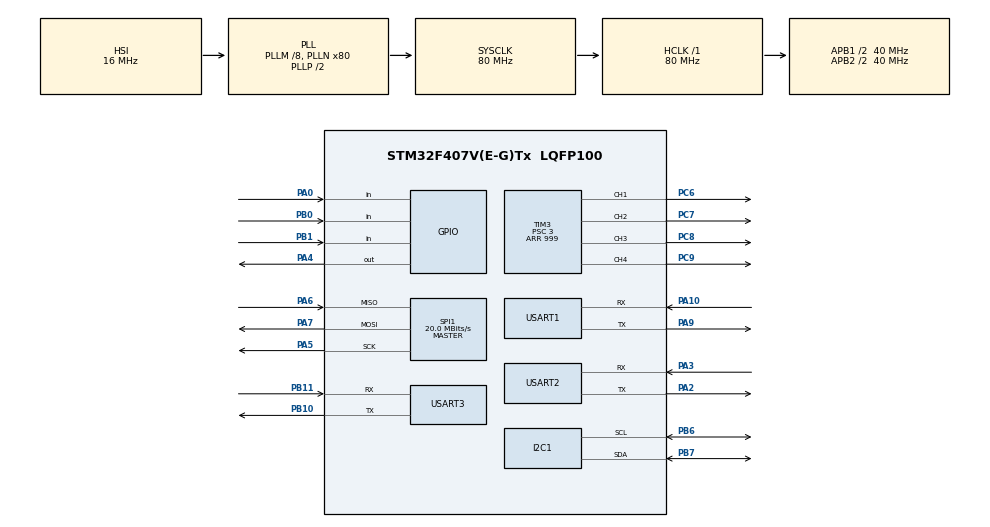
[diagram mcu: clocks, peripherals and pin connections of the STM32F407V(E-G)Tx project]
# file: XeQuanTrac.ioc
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Dma.Request0=USART1_RX
Dma.Request1=USART2_RX
Dma.Request2=USART3_RX
Dma.Request3=USART3_TX
Dma.USART1_RX.0.Direction=DMA_PERIPH_TO_MEMORY
Dma.USART1_RX.0.FIFOMode=DMA_FIFOMODE_DISABLE
Dma.USART1_RX.0.Instance=DMA2_Stream2
Dma.USART1_RX.0.MemDataAlignment=DMA_MDATAALIGN_BYTE
Dma.USART1_RX.0.MemInc=DMA_MINC_ENABLE
Dma.USART1_RX.0.Mode=DMA_CIRCULAR
Dma.USART1_RX.0.PeriphDataAlignment=DMA_PDATAALIGN_BYTE
Dma.USART1_RX.0.PeriphInc=DMA_PINC_DISABLE
Dma.USART1_RX.0.Priority=DMA_PRIORITY_HIGH
Dma.USART2_RX.1.Direction=DMA_PERIPH_TO_MEMORY
Dma.USART2_RX.1.FIFOMode=DMA_FIFOMODE_DISABLE
Dma.USART2_RX.1.Instance=DMA1_Stream5
Dma.USART2_RX.1.MemDataAlignment=DMA_MDATAALIGN_BYTE
Dma.USART2_RX.1.MemInc=DMA_MINC_ENABLE
Dma.USART2_RX.1.Mode=DMA_CIRCULAR
Dma.USART2_RX.1.PeriphDataAlignment=DMA_PDATAALIGN_BYTE
Dma.USART2_RX.1.PeriphInc=DMA_PINC_DISABLE
Dma.USART2_RX.1.Priority=DMA_PRIORITY_LOW
Dma.USART3_RX.2.Direction=DMA_PERIPH_TO_MEMORY
Dma.USART3_RX.2.FIFOMode=DMA_FIFOMODE_DISABLE
Dma.USART3_RX.2.Instance=DMA1_Stream1
Dma.USART3_RX.2.MemDataAlignment=DMA_MDATAALIGN_BYTE
Dma.USART3_RX.2.MemInc=DMA_MINC_ENABLE
Dma.USART3_RX.2.Mode=DMA_CIRCULAR
Dma.USART3_RX.2.PeriphDataAlignment=DMA_PDATAALIGN_BYTE
Dma.USART3_RX.2.PeriphInc=DMA_PINC_DISABLE
Dma.USART3_RX.2.Priority=DMA_PRIORITY_MEDIUM
Dma.USART3_TX.3.Direction=DMA_MEMORY_TO_PERIPH
Dma.USART3_TX.3.FIFOMode=DMA_FIFOMODE_DISABLE
Dma.USART3_TX.3.Instance=DMA1_Stream3
Dma.USART3_TX.3.MemDataAlignment=DMA_MDATAALIGN_BYTE
Dma.USART3_TX.3.MemInc=DMA_MINC_ENABLE
Dma.USART3_TX.3.Mode=DMA_NORMAL
Dma.USART3_TX.3.PeriphDataAlignment=DMA_PDATAALIGN_BYTE
Dma.USART3_TX.3.PeriphInc=DMA_PINC_DISABLE
Dma.USART3_TX.3.Priority=DMA_PRIORITY_LOW
I2C1.I2C_Mode=I2C_Fast
Mcu.Family=STM32F4
Mcu.Name=STM32F407V(E-G)Tx
Mcu.Package=LQFP100
NVIC.DMA1_Stream1_IRQn=true\:0\:0\:false\:false\:true\:false\:true\:true
NVIC.DMA1_Stream3_IRQn=true\:0\:0\:false\:false\:true\:false\:true\:true
NVIC.DMA1_Stream5_IRQn=true\:0\:0\:false\:false\:true\:false\:true\:true
NVIC.DMA2_Stream2_IRQn=true\:0\:0\:false\:false\:true\:false\:true\:true
NVIC.PriorityGroup=NVIC_PRIORITYGROUP_4
NVIC.USART1_IRQn=true\:0\:0\:false\:false\:true\:true\:true\:true
NVIC.USART2_IRQn=true\:0\:0\:false\:false\:true\:true\:true\:true
NVIC.USART3_IRQn=true\:0\:0\:false\:false\:true\:true\:true\:true
PA0-WKUP.Signal=GPIO_Input
PA10.Mode=Asynchronous
PA10.Signal=USART1_RX
PA15.Signal=S_TIM2_CH1_ETR
PA2.Mode=Asynchronous
PA2.Signal=USART2_TX
PA3.Mode=Asynchronous
PA3.Signal=USART2_RX
PA4.Signal=GPIO_Output
PA5.Mode=Full_Duplex_Master
PA5.Signal=SPI1_SCK
PA6.Mode=Full_Duplex_Master
PA6.Signal=SPI1_MISO
PA7.Mode=Full_Duplex_Master
PA7.Signal=SPI1_MOSI
PA9.Mode=Asynchronous
PA9.Signal=USART1_TX
PB0.GPIO_PuPd=GPIO_NOPULL
PB0.Signal=GPIO_Input
PB1.Signal=GPIO_Input
PB10.Mode=Asynchronous
PB10.Signal=USART3_TX
PB11.Mode=Asynchronous
PB11.Signal=USART3_RX
PB3.Signal=S_TIM2_CH2
PB6.Mode=I2C
PB6.Signal=I2C1_SCL
PB7.Mode=I2C
PB7.Signal=I2C1_SDA
PC6.Signal=S_TIM3_CH1
PC7.Signal=S_TIM3_CH2
PC8.Signal=S_TIM3_CH3
PC9.Signal=S_TIM3_CH4
PD12.Signal=S_TIM4_CH1
PD13.Signal=S_TIM4_CH2
PE11.Signal=S_TIM1_CH2
PE13.Signal=S_TIM1_CH3
ProjectManager.HeapSize=0x200
ProjectManager.StackSize=0x400
ProjectManager.TargetToolchain=STM32CubeIDE
RCC.48MHZClocksFreq_Value=40000000
RCC.AHBFreq_Value=80000000
RCC.APB1CLKDivider=RCC_HCLK_DIV2
RCC.APB1Freq_Value=40000000
RCC.APB1TimFreq_Value=80000000
RCC.APB2CLKDivider=RCC_HCLK_DIV2
RCC.APB2Freq_Value=40000000
RCC.APB2TimFreq_Value=80000000
RCC.CortexFreq_Value=80000000
RCC.HCLKFreq_Value=80000000
RCC.HSE_VALUE=25000000
RCC.HSI_VALUE=16000000
RCC.LSE_VALUE=32768
RCC.PLLM=8
RCC.PLLN=80
RCC.SYSCLKFreq_VALUE=80000000
RCC.SYSCLKSource=RCC_SYSCLKSOURCE_PLLCLK
RCC.VCOOutputFreq_Value=160000000
SH.S_TIM1_CH2.0=TIM1_CH2
SH.S_TIM1_CH3.0=TIM1_CH3
SH.S_TIM2_CH1_ETR.0=TIM2_CH1
SH.S_TIM2_CH2.0=TIM2_CH2
SH.S_TIM3_CH1.0=TIM3_CH1,PWM Generation1 CH1
SH.S_TIM3_CH2.0=TIM3_CH2,PWM Generation2 CH2
SH.S_TIM3_CH3.0=TIM3_CH3,PWM Generation3 CH3
SH.S_TIM3_CH4.0=TIM3_CH4,PWM Generation4 CH4
SH.S_TIM4_CH1.0=TIM4_CH1
SH.S_TIM4_CH2.0=TIM4_CH2
SPI1.CalculateBaudRate=20.0 MBits/s
SPI1.Direction=SPI_DIRECTION_2LINES
SPI1.Mode=SPI_MODE_MASTER
SPI1.VirtualType=VM_MASTER
TIM3.Channel-PWM\ Generation1\ CH1=TIM_CHANNEL_1
TIM3.Channel-PWM\ Generation2\ CH2=TIM_CHANNEL_2
TIM3.Channel-PWM\ Generation3\ CH3=TIM_CHANNEL_3
TIM3.Channel-PWM\ Generation4\ CH4=TIM_CHANNEL_4
TIM3.Period=999
TIM3.Prescaler=3
USART1.VirtualMode=VM_ASYNC
USART2.VirtualMode=VM_ASYNC
USART3.VirtualMode=VM_ASYNC
board=custom

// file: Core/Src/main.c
/* USER CODE BEGIN Header */
/**
 ******************************************************************************
 * @file           : main.c
 * @brief          : Main program body
 ******************************************************************************
 * @attention
 *
 * Copyright (c) 2026 STMicroelectronics.
 * All rights reserved.
 *
 * This software is licensed under terms that can be found in the LICENSE file
 * in the root directory of this software component.
 * If no LICENSE file comes with this software, it is provided AS-IS.
 *
 ******************************************************************************
 */
/* USER CODE END Header */
#include "main.h"

/* USER CODE BEGIN Includes */
#include "ina219.h"
#include "icm20602.h"
#include "ist8310.h"
#include "kalman.h"
#include "pid_controller.h"
#include "gps.h"
#include "mission.h"
#include "navigation.h"
#include "kalman_gps.h"
/* USER CODE END Includes */

I2C_HandleTypeDef hi2c1;

SPI_HandleTypeDef hspi1;

TIM_HandleTypeDef htim3;

UART_HandleTypeDef huart1;
UART_HandleTypeDef huart2;
UART_HandleTypeDef huart3;
DMA_HandleTypeDef hdma_usart1_rx;
DMA_HandleTypeDef hdma_usart2_rx;
DMA_HandleTypeDef hdma_usart3_rx;
DMA_HandleTypeDef hdma_usart3_tx;

void SystemClock_Config(void);
static void MX_GPIO_Init(void);
static void MX_DMA_Init(void);
static void MX_I2C1_Init(void);
static void MX_SPI1_Init(void);
static void MX_USART1_UART_Init(void);
static void MX_USART2_UART_Init(void);
static void MX_USART3_UART_Init(void);
static void MX_TIM3_Init(void);
/* USER CODE BEGIN PFP */

/*======== STRUCT VARIABLE=========*/
ICM20602_t imu;
IST8310_Data_t ist8310;
GPS_Data_t gps;

KalmanFilter1D_t kf_North; // X Axis
KalmanFilter1D_t kf_East;  // Y Axis

// =======PID Controller======
PIDController_t PID_Rate_Yaw;
PIDController_t PID_Pos_X;
PIDController_t PID_Pos_Y;
PIDController_t PID_Vel_X;
PIDController_t PID_Vel_Y;

/* USER CODE END PFP */

/* USER CODE BEGIN 0 */
//extern MissionData_t current_mission;
float battery = 0.0f;

uint8_t ist_status;
uint8_t trans_flag = 0;

/* ========ANGLE AND ACCEL + GYRO PARAM=======*/
float yaw = 0.0f;
float pitch = 0.0f, roll = 0.0f;
float ax, ay, az;
float gx, gy, gz;
float ax_offset = 0, ay_offset = 0, az_offset = 1;
float gx_offset = 0, gy_offset = 0, gz_offset = 0;

float target_yaw = 34;
/* =======PID CONTROLLER PARAM =========*/
float kp_y = 20, ki_y = 0, kd_y = 5;
int base_speed = 700;
float left_speed = 0, right_speed = 0;

/*==========GPS ESTIMATE POSITION==========*/
#define FLOW_ALPHA     0.2f
#define KP_FLOW        0.25f
#define KI_FLOW        0.02f
#define KP_POS         0.10f

float ax_earth = 0.0f;
float ay_earth = 0.0f;

float ax_bias = 0.0f;
float ay_bias = 0.0f;

// Vận tốc ước lượng (Earth Frame)
float est_vx = 0.0f;
float est_vy = 0.0f;

// Vị trí ước lượng (Earth Frame) - m
float est_x = 0.0f;
float est_y = 0.0f;

// Điểm neo (Target)
#define MAX_TARGET_VEL_XY 1.0f  // m/s, tùy kích thước/độ nhạy drone của bạn
float target_x = 0.0f;
float target_y = 0.0f;

float target_vx = 0.0f;
float target_vy = 0.0f;

/*======== MISSION =============== */
extern uint8_t rx_mission_dma_buffer[MISSION_BUFFER_SIZE];
extern uint8_t rx_gps_dma_buffer[GPS_DMA_BUF_SIZE];

void HAL_UARTEx_RxEventCallback(UART_HandleTypeDef *huart, uint16_t Size) {
	GPS_UART_RxEventCallback(huart, Size);

	if (huart->Instance == USART3) {
		// 1. Chỉ parse đúng số byte DMA vừa nhận
		Mission_ParseChunk(rx_mission_dma_buffer, Size);

		// 2. Dừng DMA hiện tại
		HAL_UART_DMAStop(huart);

		// 3. Xóa toàn bộ buffer
		memset(rx_mission_dma_buffer, 0, MISSION_BUFFER_SIZE);

		// 4. Khởi động lại DMA từ đầu buffer
		HAL_StatusTypeDef status = HAL_UARTEx_ReceiveToIdle_DMA(huart,
				rx_mission_dma_buffer,
				MISSION_BUFFER_SIZE);

		if (status != HAL_OK) {
//			printf("DMA restart ERROR = %d\r\n", status);
		}
	}
}

void HAL_UART_ErrorCallback(UART_HandleTypeDef *huart) {
	// Kiểm tra xem lỗi có xuất phát từ UART của GPS không
	if (huart->Instance == USART1) {
		// Hủy quá trình nhận hiện tại để dọn dẹp cờ lỗi
		HAL_UART_AbortReceive(huart);

		// Quan trọng: Mồi lại DMA để tiếp tục bắt tín hiệu
		HAL_UARTEx_ReceiveToIdle_DMA(&huart1, rx_gps_dma_buffer,
		GPS_DMA_BUF_SIZE);
	}
	if (huart->Instance == USART3) {
		HAL_UART_AbortReceive(huart);
		// Khởi động lại quá trình nhận DMA nếu xảy ra lỗi
		HAL_UARTEx_ReceiveToIdle_DMA(&huart3, rx_mission_dma_buffer,
		MISSION_BUFFER_SIZE);
	}
}

void set_speed(int left_speed, int right_speed) {
	if (left_speed > 0) {
		__HAL_TIM_SET_COMPARE(&htim3, LPWM_1, abs(left_speed));
		__HAL_TIM_SET_COMPARE(&htim3, RPWM_1, abs(0));
	} else {
		__HAL_TIM_SET_COMPARE(&htim3, LPWM_1, abs(0));
		__HAL_TIM_SET_COMPARE(&htim3, RPWM_1, abs(left_speed));
	}
	if (right_speed > 0) {
		__HAL_TIM_SET_COMPARE(&htim3, LPWM_2, abs(right_speed));
		__HAL_TIM_SET_COMPARE(&htim3, RPWM_2, abs(0));
	} else {
		__HAL_TIM_SET_COMPARE(&htim3, LPWM_2, abs(0));
		__HAL_TIM_SET_COMPARE(&htim3, RPWM_2, abs(right_speed));
	}
}

static float computeHeading(float bx, float by, float bz, float roll_deg,
		float pitch_deg) {
	float roll_rad = roll_deg * DEG_TO_RAD;
	float pitch_rad = pitch_deg * DEG_TO_RAD;
	float cr = cosf(roll_rad), sr = sinf(roll_rad);
	float cp = cosf(pitch_rad), sp = sinf(pitch_rad);

	float mx = bx * cp + by * sr * sp + bz * cr * sp;
	float my = by * cr - bz * sr;

	float heading = atan2f(my, mx) * RAD_TO_DEG; /* atan2f trả về sẵn trong [-180,180] */
	if (heading > 180.0f)
		heading -= 360.0f;
	if (heading < -180.0f)
		heading += 360.0f;
	return heading;
}

float readHeading(float roll_deg, float pitch_deg) {
	static float last_heading = 0.0f;
	if (IST8310_Read(&hi2c1, &ist8310) == IST8310_OK) {
//		last_heading = computeHeading(ist8310.raw_y, -ist8310.raw_x,
//				-ist8310.raw_z, roll_deg, pitch_deg);
		last_heading = computeHeading(ist8310.mag_y, -ist8310.mag_x,
				-ist8310.mag_z, roll_deg, pitch_deg);
	}
	return last_heading;

}

float angle_diff(float target, float current) {
	float diff = target - current;		//-170 - 185

	if (diff > 180.0f)
		diff -= 360.0f;

	if (diff < -180.0f)
		diff += 360.0f;

	return diff;
}

void readIMU() {
	ICM20602_Read(&imu);
	gx = (imu.gyro.x - gx_offset);
	gy = (imu.gyro.y - gy_offset);
	gz = -(imu.gyro.z - gz_offset);

	ax = imu.accel.x - ax_offset;
	ay = imu.accel.y - ay_offset;
	az = imu.accel.z - (az_offset - 1);
}

void calculateAngle(float dt) {		// 500Hz
	float roll_acc = atan2(ay, sqrt(ax * ax + az * az)) * 57.2958;
	float pitch_acc = atan2(-ax, sqrt(ay * ay + az * az)) * 57.2958;
//  ================= KALMAN FILTER =================
	Kalman1D_Compute(roll, KalmanUncertaintyAngleRoll, gx, roll_acc, dt);
	roll = Kalman1DOutput[0];
	KalmanUncertaintyAngleRoll = Kalman1DOutput[1];

	Kalman1D_Compute(pitch, KalmanUncertaintyAnglePitch, gy, pitch_acc, dt);
	pitch = Kalman1DOutput[0];
	KalmanUncertaintyAnglePitch = Kalman1DOutput[1];

	//---------------- Yaw ----------------- //
	// 1. Predict bằng gyro
	static uint8_t mag_div = 0;
	static float heading_lpf = 0.0f;

	yaw += gz * dt;

	float heading = readHeading(roll, pitch);

	float mag_err = angle_diff(heading, heading_lpf);

	heading_lpf += 0.1f * mag_err;

	if (heading_lpf > 180.0f)
		heading_lpf -= 360.0f;

	if (heading_lpf < -180.0f)
		heading_lpf += 360.0f;

	float err = angle_diff(heading_lpf, yaw);

	yaw += 0.01f * err;
//	yaw = heading;
	// Wrap yaw
	if (yaw > 180.0f)
		yaw -= 360.0f;

	if (yaw < -180.0f)
		yaw += 360.0f;

}

#define GPS_POS_R      2.5f
#define KI_GPS_BIAS    0.02f   // hệ số học bias — BẮT ĐẦU NHỎ, tune tăng dần
#define MAX_ACCEL_BIAS 1.0f    // m/s^2, chặn để tránh runaway khi GPS jump/nhiễu

float lat_err, lon_err;
float pos_N, pos_E;
double home_lat, home_lon;
uint8_t robot_armed = 0;
uint8_t robot_start = 0;
uint8_t gps_home_set = 0;

void Estimate_Position_GPS_Kalman(float dt) {
	/*=============================
	 1. Xoay gia tốc từ Body -> Earth Frame
	 =============================*/
	/* Covert FLU to FRD*/
	float ax_frd = ax;
	float ay_frd = -ay;
	float az_frd = -az;

	float cy = cosf(yaw * DEG_TO_RAD);
	float sy = sinf(yaw * DEG_TO_RAD);

	float cp = cosf(pitch * DEG_TO_RAD);
	float sp = sinf(pitch * DEG_TO_RAD);

	float cr = cosf(roll * DEG_TO_RAD);
	float sr = sinf(roll * DEG_TO_RAD);
	/*========================================
	 * FRD -> NED
	 *========================================*/

	ax_earth = cy * cp * ax_frd + (-cy * sp * sr - sy * cr) * ay_frd
			+ (-cy * sp * cr + sy * sr) * az_frd;

	ay_earth = sy * cp * ax_frd + (-sy * sp * sr + cy * cr) * ay_frd
			+ (-sy * sp * cr - cy * sr) * az_frd;

	/* g -> m/s² */
	ax_earth *= 9.81f;
	ay_earth *= 9.81f;

	/*=============================
	 2. Kalman PREDICT (500Hz - IMU)
	 =============================*/
	KalmanGPS_Predict(&kf_North, ax_earth, dt);
	KalmanGPS_Predict(&kf_East, ay_earth, dt);

	/*=============================
	 3. Kalman UPDATE (Chạy ~10Hz bằng GPS)
	 =============================*/
	if (gps.fixType >= 3 && gps.ready == 1) {
		if (!gps_home_set) {
			home_lat = gps.latitude;
			home_lon = gps.longitude;
			gps_home_set = 1;

			// Reset trạng thái
			kf_North.pos = 0.0f;
			kf_North.vel = 0.0f;
			kf_North.bias = 0.0f;
			kf_East.pos = 0.0f;
			kf_East.vel = 0.0f;
			kf_East.bias = 0.0f;

		} else {
			lat_err = (float) gps.latitude - home_lat;
			lon_err = (float) gps.longitude - home_lon;

			pos_N = lat_err * 111320.0f;
			pos_E = lon_err * 111320.0f * cosf(home_lat * DEG_TO_RAD);

			float vel_N = (float) gps.velN / 1000.0f;
			float vel_E = (float) gps.velE / 1000.0f;

			// Bình phương biến số sai số GPS để làm nhiễu (Ví dụ pAcc báo sai số 1.5m -> r = 1.5*1.5)
			float r_pos_noise = (float) (gps.hAcc / 1000.0f)
					* (gps.hAcc / 1000.0f);
			float r_vel_noise = (float) (gps.sAcc / 1000.0f)
					* (gps.sAcc / 1000.0f);

			KalmanGPS_Update(&kf_North, pos_N, vel_N, r_pos_noise, r_vel_noise);
			KalmanGPS_Update(&kf_East, pos_E, vel_E, r_pos_noise, r_vel_noise);
		}
		gps.ready = 0;
	}

	/* 4. Gán State cho hàm PID Position Hold */
	est_x = kf_North.pos;
	est_vx = kf_North.vel;
	est_y = kf_East.pos;
	est_vy = kf_East.vel;
}

uint16_t current_wp_index = 0;
uint8_t mission_running = 0;
#define WAYPOINT_RADIUS 2.0f // Bán kính 2 mét để xác nhận đã đến điểm

#define MAX_NAV_SPEED 5.0f // Tốc độ di chuyển tối đa của máy bay (m/s)

#ifndef constrain
#define constrain(amt,low,high) ((amt)<(low)?(low):((amt)>(high)?(high):(amt)))
#endif
//
//void navigation_task(float dt) {
//	static uint8_t mission_complete = 0;
//	static uint16_t current_wp_index = 0;
//
//	// Đảm bảo GPS đã có sóng, chốt được Home (gps_home_set) và nhận nhiệm vụ
//	if (Mission_IsReady() && gps_home_set && !mission_complete) {
//		Waypoint_t target_wp = Mission_GetWaypoint(current_wp_index);
//		robot_start = 1;
//		// 1. Quy đổi tọa độ Waypoint (Đích) sang hệ mét so với Home (Earth Frame: X=North, Y=East)
//		float wp_lat_err = (float) target_wp.lat - home_lat;
//		float wp_lon_err = (float) target_wp.lon - home_lon;
//
//		float wp_target_x = wp_lat_err * 111320.0f;
//		float wp_target_y = wp_lon_err * 111320.0f
//				* cosf(home_lat * DEG_TO_RAD);
//
//		// 2. Dùng vị trí ƯỚC LƯỢNG (est_x, est_y) để tính khoảng cách thay vì GPS thô
//		float dx = wp_target_x - est_x;
//		float dy = wp_target_y - est_y;
//		float dist_to_target = sqrtf(dx * dx + dy * dy);
//
//		// 3. Kiểm tra xem đã đến đích chưa (Bán kính 2.0m)
//		if (dist_to_target < 2.0f) {
//			current_wp_index++;
//			if (current_wp_index >= Mission_GetCount()) {
//				mission_complete = 1;
//				set_speed(0, 0); // Hoàn thành nhiệm vụ thì dừng động cơ
//				return;
//			}
//		} else {
//			// 4. Tính góc Bearing mục tiêu dựa trên độ lệch (dx, dy)
//			// Trục X hướng Bắc, Y hướng Đông -> atan2f(dy, dx) trả về góc chuẩn xác
//			target_yaw = atan2f(dy, dx) * RAD_TO_DEG;
//			float error = angle_diff(target_yaw, yaw);
//
//			// 5. Tính toán bộ điều khiển PID Steering
//			float pid_output = PID_Calculate(&PID_Rate_Yaw, error, dt);
//
//			if (fabs(error) > 40.0f) {
//				base_speed = 0; // Xoay tại chỗ nếu đầu xe lệch quá nhiều so với Waypoint
//			} else {
//				if (dist_to_target < 4.0f) {
//					base_speed = 200; // Khi cách đích dưới 4m, bắt đầu giảm tốc độ hành trình (Phanh mềm)
//				} else {
//					base_speed = 400;
//				}
//			}
//
//			// Phân bổ tốc độ cho bánh trái và bánh phải
//			left_speed = base_speed + pid_output;
//			right_speed = base_speed - pid_output;
//
//			left_speed = constrain(left_speed, -300, 999);
//			right_speed = constrain(right_speed, -300, 999);
//
//			set_speed(left_speed, right_speed);
//		}
//	} else if (mission_complete) {
//		set_speed(0, 0);
//	}
//}

float dist = 0;

//uint8_t navigation_task(float dt) {		// 1: completed, 0: not completed
//	static uint8_t mission_complete = 0;
//	static uint16_t current_wp_index = 0;
//	if (Mission_IsReady() && !mission_complete && gps.numSV >= 20) {
//		Waypoint_t target_wp = Mission_GetWaypoint(current_wp_index);
//		float dist_to_target = calculate_distance(gps.latitude, gps.longitude,
//				target_wp.lat, target_wp.lon);
//		dist = dist_to_target;
//		if (dist_to_target < 1.0)		// distance <1m then go to next waypoint
//				{
//			current_wp_index++;
//			if (current_wp_index >= Mission_GetCount()) {
//				mission_complete = 1;
//				set_speed(0, 0);
//				return 1;
//			}
//		} else {
//			target_yaw = calculate_bearing(gps.latitude, gps.longitude,
//					target_wp.lat, target_wp.lon);
//			float error = angle_diff(target_yaw, yaw);
//
////			base_speed = 400;
//			float pid_output = PID_Calculate(&PID_Rate_Yaw, error, dt);
//			left_speed = base_speed + pid_output;
//			right_speed = base_speed - pid_output;
//			if (left_speed > 999)
//				left_speed = 999;
//			if (left_speed < -300)
//				left_speed = -300;
//			if (right_speed > 999)
//				right_speed = 999;
//			if (right_speed < -300)
//				right_speed = -300;
//
//			set_speed(left_speed, right_speed);
//
//		}
//	}
//	return 0;
//}

static uint8_t mission_complete = 0;
uint8_t navigation_task(float dt) {
	// Lưu lại tọa độ điểm bắt đầu của đoạn đường (Previous Waypoint)
	static double prev_lat = 0;
	static double prev_lon = 0;
	static uint8_t path_init = 0;

	if (Mission_IsReady() && !mission_complete && gps.numSV >= 20) {
		if (!path_init) {
			prev_lat = gps.latitude; // Điểm xuất phát của chặng đầu tiên
			prev_lon = gps.longitude;
			path_init = 1;
		}

		Waypoint_t target_wp = Mission_GetWaypoint(current_wp_index);
		float dist_to_target = calculate_distance(gps.latitude, gps.longitude,
				target_wp.lat, target_wp.lon);
		dist = dist_to_target;

		if (dist_to_target < 1.0f) { // Đã đến đích, chuyển WP
			current_wp_index++;
			if (current_wp_index >= Mission_GetCount()) {
				mission_complete = 1;
				current_wp_index = 0;
				path_init = 0;
				set_speed(0, 0);
				return 1;
			} else {
				// Đích của chặng cũ trở thành điểm xuất phát của chặng mới
				prev_lat = target_wp.lat;
				prev_lon = target_wp.lon;
			}
		} else {
			// 1. Chuyển đổi tọa độ đoạn đường lý tưởng sang hệ mét (Flat Earth)
			float path_x = (target_wp.lat - prev_lat) * 111320.0f;
			float path_y = (target_wp.lon - prev_lon) * 111320.0f
					* cosf(prev_lat * DEG_TO_RAD);

			// 2. Chuyển đổi vị trí xe hiện tại so với điểm xuất phát
			float curr_x = (gps.latitude - prev_lat) * 111320.0f;
			float curr_y = (gps.longitude - prev_lon) * 111320.0f
					* cosf(prev_lat * DEG_TO_RAD);

			float path_length = sqrtf(path_x * path_x + path_y * path_y);

			if (path_length > 0.001f) {
				// Vector đơn vị của đoạn đường
				float u_x = path_x / path_length;
				float u_y = path_y / path_length;

				// Tính khoảng cách hình chiếu của xe lên đoạn đường
				float proj_dist = curr_x * u_x + curr_y * u_y;

				// Tạo Điểm Ảo cách vị trí chiếu một khoảng Lookahead
				float lookahead = 3.0f; // Mét (Tăng/giảm tùy vận tốc xe)
				float virtual_dist = proj_dist + lookahead;

				// Không để điểm ảo vượt quá đích
				if (virtual_dist > path_length)
					virtual_dist = path_length;

				// Tọa độ Điểm Ảo
				float virt_x = virtual_dist * u_x;
				float virt_y = virtual_dist * u_y;

				// Tính góc Bearing từ xe trỏ đến Điểm Ảo
				float dx = virt_x - curr_x;
				float dy = virt_y - curr_y;
				target_yaw = atan2f(dy, dx) * RAD_TO_DEG;
			} else {
				target_yaw = calculate_bearing(gps.latitude, gps.longitude,
						target_wp.lat, target_wp.lon);
			}

			float error = angle_diff(target_yaw, yaw);
			float pid_output = PID_Calculate(&PID_Rate_Yaw, error, dt);

			left_speed = base_speed + pid_output;
			right_speed = base_speed - pid_output;

			// Sử dụng macro constrain sẵn có để giới hạn tốc độ PWM
			left_speed = constrain(left_speed, -300, 999);
			right_speed = constrain(right_speed, -300, 999);

			set_speed(left_speed, right_speed);
		}
	}
	return 0;
}

void Calibrate_Gyro(void) {
	float sum_gx = 0, sum_gy = 0, sum_gz = 0;
	float sum_ax = 0, sum_ay = 0, sum_az = 0;
	int samples = 100;

	for (int i = 0; i < samples; i++) {
		ICM20602_Read(&imu);
		sum_gx += imu.gyro.x;
		sum_gy += imu.gyro.y;
		sum_gz += imu.gyro.z;
		sum_ax += imu.accel.x;
		sum_ay += imu.accel.y;
		sum_az += imu.accel.z;
		HAL_Delay(2); // Chờ một chút giữa các lần đọc
	}

	gx_offset = sum_gx / samples;
	gy_offset = sum_gy / samples;
	gz_offset = sum_gz / samples;

	ax_offset = sum_ax / samples;
	ay_offset = sum_ay / samples;
	az_offset = sum_az / samples;
}

uint32_t lastHeartbeatTime = 0;
uint32_t lastTelemetryTime = 0;

float mapf(float x, float in_min, float in_max, float out_min, float out_max) {
	return (x - in_min) * (out_max - out_min) / (in_max - in_min) + out_min;
}
void sendHeartbeat(void) {
	// 1. Thêm từ khóa static để mảng không bị hủy sau khi thoát hàm
	static char hb_tx_buf[96];

	// 2. Kiểm tra xem UART có đang bận gửi gói dữ liệu khác không
	if (huart3.gState != HAL_UART_STATE_READY)
		return;

	snprintf(hb_tx_buf, sizeof(hb_tx_buf), "{\"type\":\"heartbeat\"}\n");

	// 3. Sử dụng hàm DMA (không cần tham số timeout)
	HAL_UART_Transmit_DMA(&huart3, (uint8_t*) hb_tx_buf, strlen(hb_tx_buf));
}

float yaw_send = 0;
void sendTelemetry() {
	static char tele_tx_buf[256]; // Dùng static

	if (huart3.gState != HAL_UART_STATE_READY)
		return;

	const char *state_str = "DISARMED";
	if (robot_armed) {
		if (robot_start) {
			state_str = "RUNNING";
		} else {
			state_str = "ARMED";
		}
	}
//	yaw_send = mapf(yaw, -180, 180, , 360);
	yaw_send = yaw;
	if (yaw < 0) {
		yaw_send = 360 + yaw;
	}

	snprintf(tele_tx_buf, sizeof(tele_tx_buf),
			"{\"type\":\"telemetry\",\"lat\":%.7f,\"lon\":%.7f,\"heading\":%.1f,\"speed\":%.1f,\"battery\":%.1f,\"altitude\":%.1f,\"satellites\":%d,\"armed\":%s,\"state\":\"%s\"}\n",
			gps.latitude, gps.longitude, yaw_send,
			(float) (gps.gSpeed / 1000.0f), battery, 0.0, gps.numSV,
			robot_armed ? "true" : "false", state_str);
	trans_flag = 1;
	HAL_UART_Transmit_DMA(&huart3, (uint8_t*) tele_tx_buf, strlen(tele_tx_buf));
	trans_flag = 0;
}

/* USER CODE END 0 */

int main(void) {

	/* MCU Configuration--------------------------------------------------------*/

	/* Reset of all peripherals, Initializes the Flash interface and the Systick. */
	HAL_Init();

	/* Configure the system clock */
	SystemClock_Config();

	/* Initialize all configured peripherals */
	MX_GPIO_Init();
	MX_DMA_Init();
	MX_I2C1_Init();
	MX_SPI1_Init();
	MX_USART1_UART_Init();
	MX_USART2_UART_Init();
	MX_USART3_UART_Init();
	MX_TIM3_Init();
	/* USER CODE BEGIN 2 */
	HAL_TIM_PWM_Start(&htim3, LPWM_1);
	HAL_TIM_PWM_Start(&htim3, RPWM_1);
	HAL_TIM_PWM_Start(&htim3, LPWM_2);
	HAL_TIM_PWM_Start(&htim3, RPWM_2);

	DWT_Init();
	INA219_Init(&hi2c1);
	ICM20602_Init();
	IST8310_Init(&hi2c1, &ist8310);
	GPS_Init_DMA(&huart1);
	Mission_Init_DMA(&huart3);
	PID_Init(&PID_Rate_Yaw, kp_y, ki_y, kd_y, 0.2f);
	PID_SetIntegralLimits(&PID_Rate_Yaw, -300.0f, 300.0f);
	Calibrate_Gyro();
//	IST8310_Calibrate(&hi2c1, 90000);
	HAL_Delay(100);
	while (!HAL_GPIO_ReadPin(GPIOA, GPIO_PIN_0)) {

	}

	uint32_t tele_timer = 0;
	uint32_t heatbeart_timer = 0;
	/* USER CODE END 2 */

	/* Infinite loop */
	while (1) {

		/* USER CODE BEGIN 3 */
		uint32_t start = DWT_GetMicros();
		float dt = 0.004f;
		readIMU();
		calculateAngle(dt);

		if (HAL_GPIO_ReadPin(GPIOA, GPIO_PIN_0)) {
			target_yaw = yaw;
		}
		GPS_Process(&gps);
		Estimate_Position_GPS_Kalman(dt);
		if ((DWT_GetMicros() - heatbeart_timer > 1000000)) {
			sendHeartbeat();
			heatbeart_timer = DWT_GetMicros();
		}
		if ((DWT_GetMicros() - tele_timer > 500000)) {
			float vol = INA219_Read_Bus_Voltage(&hi2c1);
			vol = constrain(vol, 10.5, 12.6);
			battery = mapf(vol, 10.5, 12.6, 0, 100);

			sendTelemetry();
			tele_timer = DWT_GetMicros();
		}
		if (!robot_armed) {
			// TRẠNG THÁI 1: ĐÃ KHÓA (DISARMED)
			// Ép tốc độ động cơ về 0 hoàn toàn
			set_speed(0, 0);
		} else if (robot_armed && !robot_start) {
			// TRẠNG THÁI 2: MỞ KHÓA NHƯNG ĐỨNG YÊN (ARMED)
			// Sẵn sàng chạy nhưng chưa nhận lệnh Start
			set_speed(5, 5);
		} else if (robot_armed && robot_start) {
			// TRẠNG THÁI 3: ĐANG CHẠY NHIỆM VỤ (RUNNING)
			// Cho phép thuật toán Navigation điều khiển tốc độ
			uint8_t completed = navigation_task(dt);
			if (completed) {
				robot_start = 0;
				robot_armed = 0;
				mission_complete = 0;

			}
		}

		while ((DWT_GetMicros() - start) < 4000)
			;
	}
	/* USER CODE END 3 */
}

void SystemClock_Config(void) {
	RCC_OscInitTypeDef RCC_OscInitStruct = { 0 };
	RCC_ClkInitTypeDef RCC_ClkInitStruct = { 0 };

	/** Configure the main internal regulator output voltage
	 */
	__HAL_RCC_PWR_CLK_ENABLE();
	__HAL_PWR_VOLTAGESCALING_CONFIG(PWR_REGULATOR_VOLTAGE_SCALE1);

	/** Initializes the RCC Oscillators according to the specified parameters
	 * in the RCC_OscInitTypeDef structure.
	 */
	RCC_OscInitStruct.OscillatorType = RCC_OSCILLATORTYPE_HSI;
	RCC_OscInitStruct.HSIState = RCC_HSI_ON;
	RCC_OscInitStruct.HSICalibrationValue = RCC_HSICALIBRATION_DEFAULT;
	RCC_OscInitStruct.PLL.PLLState = RCC_PLL_ON;
	RCC_OscInitStruct.PLL.PLLSource = RCC_PLLSOURCE_HSI;
	RCC_OscInitStruct.PLL.PLLM = 8;
	RCC_OscInitStruct.PLL.PLLN = 80;
	RCC_OscInitStruct.PLL.PLLP = RCC_PLLP_DIV2;
	RCC_OscInitStruct.PLL.PLLQ = 4;
	if (HAL_RCC_OscConfig(&RCC_OscInitStruct) != HAL_OK) {
		Error_Handler();
	}

	/** Initializes the CPU, AHB and APB buses clocks
	 */
	RCC_ClkInitStruct.ClockType = RCC_CLOCKTYPE_HCLK | RCC_CLOCKTYPE_SYSCLK
			| RCC_CLOCKTYPE_PCLK1 | RCC_CLOCKTYPE_PCLK2;
	RCC_ClkInitStruct.SYSCLKSource = RCC_SYSCLKSOURCE_PLLCLK;
	RCC_ClkInitStruct.AHBCLKDivider = RCC_SYSCLK_DIV1;
	RCC_ClkInitStruct.APB1CLKDivider = RCC_HCLK_DIV2;
	RCC_ClkInitStruct.APB2CLKDivider = RCC_HCLK_DIV2;

	if (HAL_RCC_ClockConfig(&RCC_ClkInitStruct, FLASH_LATENCY_2) != HAL_OK) {
		Error_Handler();
	}
}

static void MX_I2C1_Init(void) {

	hi2c1.Instance = I2C1;
	hi2c1.Init.ClockSpeed = 400000;
	hi2c1.Init.DutyCycle = I2C_DUTYCYCLE_2;
	hi2c1.Init.OwnAddress1 = 0;
	hi2c1.Init.AddressingMode = I2C_ADDRESSINGMODE_7BIT;
	hi2c1.Init.DualAddressMode = I2C_DUALADDRESS_DISABLE;
	hi2c1.Init.OwnAddress2 = 0;
	hi2c1.Init.GeneralCallMode = I2C_GENERALCALL_DISABLE;
	hi2c1.Init.NoStretchMode = I2C_NOSTRETCH_DISABLE;
	if (HAL_I2C_Init(&hi2c1) != HAL_OK) {
		Error_Handler();
	}

}

static void MX_SPI1_Init(void) {

	/* SPI1 parameter configuration*/
	hspi1.Instance = SPI1;
	hspi1.Init.Mode = SPI_MODE_MASTER;
	hspi1.Init.Direction = SPI_DIRECTION_2LINES;
	hspi1.Init.DataSize = SPI_DATASIZE_8BIT;
	hspi1.Init.CLKPolarity = SPI_POLARITY_LOW;
	hspi1.Init.CLKPhase = SPI_PHASE_1EDGE;
	hspi1.Init.NSS = SPI_NSS_SOFT;
	hspi1.Init.BaudRatePrescaler = SPI_BAUDRATEPRESCALER_2;
	hspi1.Init.FirstBit = SPI_FIRSTBIT_MSB;
	hspi1.Init.TIMode = SPI_TIMODE_DISABLE;
	hspi1.Init.CRCCalculation = SPI_CRCCALCULATION_DISABLE;
	hspi1.Init.CRCPolynomial = 10;
	if (HAL_SPI_Init(&hspi1) != HAL_OK) {
		Error_Handler();
	}

}

static void MX_TIM3_Init(void) {

	TIM_MasterConfigTypeDef sMasterConfig = { 0 };
	TIM_OC_InitTypeDef sConfigOC = { 0 };

	htim3.Instance = TIM3;
	htim3.Init.Prescaler = 3;
	htim3.Init.CounterMode = TIM_COUNTERMODE_UP;
	htim3.Init.Period = 999;
	htim3.Init.ClockDivision = TIM_CLOCKDIVISION_DIV1;
	htim3.Init.AutoReloadPreload = TIM_AUTORELOAD_PRELOAD_DISABLE;
	if (HAL_TIM_PWM_Init(&htim3) != HAL_OK) {
		Error_Handler();
	}
	sMasterConfig.MasterOutputTrigger = TIM_TRGO_RESET;
	sMasterConfig.MasterSlaveMode = TIM_MASTERSLAVEMODE_DISABLE;
	if (HAL_TIMEx_MasterConfigSynchronization(&htim3, &sMasterConfig)
			!= HAL_OK) {
		Error_Handler();
	}
	sConfigOC.OCMode = TIM_OCMODE_PWM1;
	sConfigOC.Pulse = 0;
	sConfigOC.OCPolarity = TIM_OCPOLARITY_HIGH;
	sConfigOC.OCFastMode = TIM_OCFAST_DISABLE;
	if (HAL_TIM_PWM_ConfigChannel(&htim3, &sConfigOC, TIM_CHANNEL_1)
			!= HAL_OK) {
		Error_Handler();
	}
	if (HAL_TIM_PWM_ConfigChannel(&htim3, &sConfigOC, TIM_CHANNEL_2)
			!= HAL_OK) {
		Error_Handler();
	}
	if (HAL_TIM_PWM_ConfigChannel(&htim3, &sConfigOC, TIM_CHANNEL_3)
			!= HAL_OK) {
		Error_Handler();
	}
	if (HAL_TIM_PWM_ConfigChannel(&htim3, &sConfigOC, TIM_CHANNEL_4)
			!= HAL_OK) {
		Error_Handler();
	}
	HAL_TIM_MspPostInit(&htim3);

}

static void MX_USART1_UART_Init(void) {

	huart1.Instance = USART1;
	huart1.Init.BaudRate = 115200;
	huart1.Init.WordLength = UART_WORDLENGTH_8B;
	huart1.Init.StopBits = UART_STOPBITS_1;
	huart1.Init.Parity = UART_PARITY_NONE;
	huart1.Init.Mode = UART_MODE_TX_RX;
	huart1.Init.HwFlowCtl = UART_HWCONTROL_NONE;
	huart1.Init.OverSampling = UART_OVERSAMPLING_16;
	if (HAL_UART_Init(&huart1) != HAL_OK) {
		Error_Handler();
	}

}

static void MX_USART2_UART_Init(void) {

	huart2.Instance = USART2;
	huart2.Init.BaudRate = 115200;
	huart2.Init.WordLength = UART_WORDLENGTH_8B;
	huart2.Init.StopBits = UART_STOPBITS_1;
	huart2.Init.Parity = UART_PARITY_NONE;
	huart2.Init.Mode = UART_MODE_TX_RX;
	huart2.Init.HwFlowCtl = UART_HWCONTROL_NONE;
	huart2.Init.OverSampling = UART_OVERSAMPLING_16;
	if (HAL_UART_Init(&huart2) != HAL_OK) {
		Error_Handler();
	}

}

static void MX_USART3_UART_Init(void) {

	huart3.Instance = USART3;
	huart3.Init.BaudRate = 115200;
	huart3.Init.WordLength = UART_WORDLENGTH_8B;
	huart3.Init.StopBits = UART_STOPBITS_1;
	huart3.Init.Parity = UART_PARITY_NONE;
	huart3.Init.Mode = UART_MODE_TX_RX;
	huart3.Init.HwFlowCtl = UART_HWCONTROL_NONE;
	huart3.Init.OverSampling = UART_OVERSAMPLING_16;
	if (HAL_UART_Init(&huart3) != HAL_OK) {
		Error_Handler();
	}

}

static void MX_DMA_Init(void) {

	/* DMA controller clock enable */
	__HAL_RCC_DMA2_CLK_ENABLE();
	__HAL_RCC_DMA1_CLK_ENABLE();

	/* DMA interrupt init */
	/* DMA1_Stream1_IRQn interrupt configuration */
	HAL_NVIC_SetPriority(DMA1_Stream1_IRQn, 0, 0);
	HAL_NVIC_EnableIRQ(DMA1_Stream1_IRQn);
	/* DMA1_Stream3_IRQn interrupt configuration */
	HAL_NVIC_SetPriority(DMA1_Stream3_IRQn, 0, 0);
	HAL_NVIC_EnableIRQ(DMA1_Stream3_IRQn);
	/* DMA1_Stream5_IRQn interrupt configuration */
	HAL_NVIC_SetPriority(DMA1_Stream5_IRQn, 0, 0);
	HAL_NVIC_EnableIRQ(DMA1_Stream5_IRQn);
	/* DMA2_Stream2_IRQn interrupt configuration */
	HAL_NVIC_SetPriority(DMA2_Stream2_IRQn, 0, 0);
	HAL_NVIC_EnableIRQ(DMA2_Stream2_IRQn);

}

static void MX_GPIO_Init(void) {
	GPIO_InitTypeDef GPIO_InitStruct = { 0 };

	/* GPIO Ports Clock Enable */
	__HAL_RCC_GPIOA_CLK_ENABLE();
	__HAL_RCC_GPIOB_CLK_ENABLE();
	__HAL_RCC_GPIOE_CLK_ENABLE();
	__HAL_RCC_GPIOD_CLK_ENABLE();
	__HAL_RCC_GPIOC_CLK_ENABLE();

	/*Configure GPIO pin Output Level */
	HAL_GPIO_WritePin(GPIOA, GPIO_PIN_4, GPIO_PIN_RESET);

	/*Configure GPIO pin : PA0 */
	GPIO_InitStruct.Pin = GPIO_PIN_0;
	GPIO_InitStruct.Mode = GPIO_MODE_INPUT;
	GPIO_InitStruct.Pull = GPIO_NOPULL;
	HAL_GPIO_Init(GPIOA, &GPIO_InitStruct);

	/*Configure GPIO pin : PA4 */
	GPIO_InitStruct.Pin = GPIO_PIN_4;
	GPIO_InitStruct.Mode = GPIO_MODE_OUTPUT_PP;
	GPIO_InitStruct.Pull = GPIO_NOPULL;
	GPIO_InitStruct.Speed = GPIO_SPEED_FREQ_LOW;
	HAL_GPIO_Init(GPIOA, &GPIO_InitStruct);

	/*Configure GPIO pins : PB0 PB1 */
	GPIO_InitStruct.Pin = GPIO_PIN_0 | GPIO_PIN_1;
	GPIO_InitStruct.Mode = GPIO_MODE_INPUT;
	GPIO_InitStruct.Pull = GPIO_NOPULL;
	HAL_GPIO_Init(GPIOB, &GPIO_InitStruct);

	/*Configure GPIO pins : PE11 PE13 */
	GPIO_InitStruct.Pin = GPIO_PIN_11 | GPIO_PIN_13;
	GPIO_InitStruct.Mode = GPIO_MODE_AF_PP;
	GPIO_InitStruct.Pull = GPIO_NOPULL;
	GPIO_InitStruct.Speed = GPIO_SPEED_FREQ_LOW;
	GPIO_InitStruct.Alternate = GPIO_AF1_TIM1;
	HAL_GPIO_Init(GPIOE, &GPIO_InitStruct);

	/*Configure GPIO pins : PD12 PD13 */
	GPIO_InitStruct.Pin = GPIO_PIN_12 | GPIO_PIN_13;
	GPIO_InitStruct.Mode = GPIO_MODE_AF_PP;
	GPIO_InitStruct.Pull = GPIO_NOPULL;
	GPIO_InitStruct.Speed = GPIO_SPEED_FREQ_LOW;
	GPIO_InitStruct.Alternate = GPIO_AF2_TIM4;
	HAL_GPIO_Init(GPIOD, &GPIO_InitStruct);

	/*Configure GPIO pin : PA15 */
	GPIO_InitStruct.Pin = GPIO_PIN_15;
	GPIO_InitStruct.Mode = GPIO_MODE_AF_PP;
	GPIO_InitStruct.Pull = GPIO_NOPULL;
	GPIO_InitStruct.Speed = GPIO_SPEED_FREQ_LOW;
	GPIO_InitStruct.Alternate = GPIO_AF1_TIM2;
	HAL_GPIO_Init(GPIOA, &GPIO_InitStruct);

	/*Configure GPIO pin : PB3 */
	GPIO_InitStruct.Pin = GPIO_PIN_3;
	GPIO_InitStruct.Mode = GPIO_MODE_AF_PP;
	GPIO_InitStruct.Pull = GPIO_NOPULL;
	GPIO_InitStruct.Speed = GPIO_SPEED_FREQ_LOW;
	GPIO_InitStruct.Alternate = GPIO_AF1_TIM2;
	HAL_GPIO_Init(GPIOB, &GPIO_InitStruct);

}

void Error_Handler(void) {
	__disable_irq();
	while (1) {
	}
}
